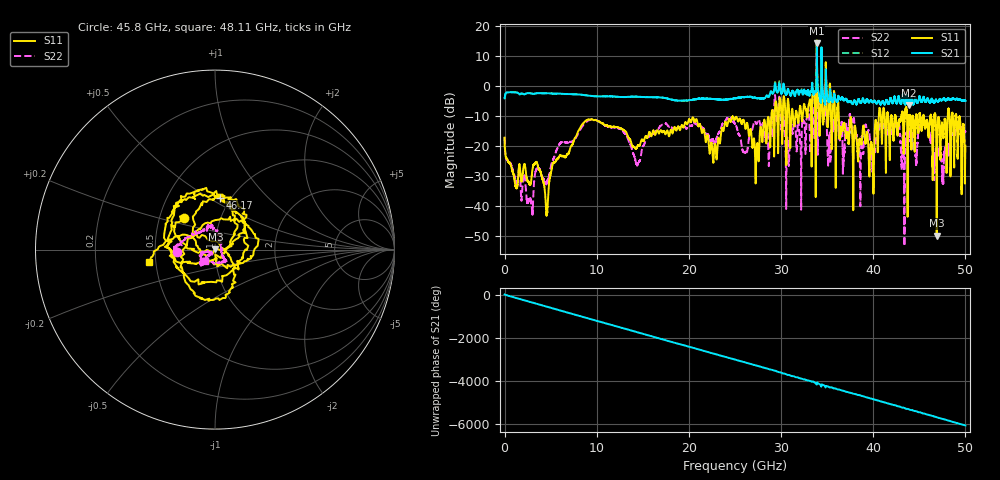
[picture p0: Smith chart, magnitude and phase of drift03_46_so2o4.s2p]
!Created with skrf (http://scikit-rf.org).
# Hz S RI R 50.0
!freq ReS11 ImS11 ReS21 ImS21 ReS12 ImS12 ReS22 ImS22
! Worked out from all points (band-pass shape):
!   10001 points, 300 kHz to 50 GHz, reference 50 ohm
!   highest |S21| = 14.35 dB at 33.88 GHz (marker M1); lowest = -6.2 dB at 43.9 GHz (marker M2)
!   |S21| within 3 dB of the highest: 33.86932 GHz to 33.88868 GHz (19.36 MHz wide, 0.0571 % of centre); 34.37711 GHz to 34.38933 GHz (12.22 MHz wide, 0.0355 % of centre)
!   lowest |S11| = -49.9 dB at 46.89 GHz (marker M3), VSWR 1.01, Z = 50.2 + j0.24 ohm
!   |S11| at or under -10 dB: start of sweep to 28.94 GHz; 36.26 GHz to 40.6 GHz (4.34 GHz wide, 11.3 % of centre); 46.74 GHz to 48.08 GHz (1.338 GHz wide, 2.82 % of centre) (the widest 3 of 62)
!   |S22| runs from -53.4 to 11.1 dB; largest |S21 - S12| = 0.82
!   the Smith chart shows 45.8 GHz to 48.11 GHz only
!   S11 on the Smith chart (normalised r, x): 45.8 GHz: 0.66, +0.25; 46.17 GHz: 0.89, +0.56; 48.11 GHz: 0.46, -0.07
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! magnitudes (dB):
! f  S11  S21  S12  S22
! 300 kHz  -17.2  -4.0  -4.0  -17.0
! 2.825 GHz  -32.6  -2.4  -2.4  -38.3
! 4.555 GHz  -43.3  -2.3  -2.3  -32.2
! 8.335 GHz  -13.1  -2.8  -2.8  -13.9
! 14.44 GHz  -19.9  -3.5  -3.5  -26.2
! 16.67 GHz  -15.4  -3.7  -3.7  -14.3
! 22.82 GHz  -19.3  -4.3  -4.3  -19.2
! 25 GHz  -10.9  -4.0  -4.0  -12.5
! 26.09 GHz  -13.6  -3.6  -3.6  -22.0
! 27.39 GHz  -19.4  -4.1  -4.1  -12.3
! 29.6 GHz  -10.8  -2.0  -2.1  -11.6
! 30.7 GHz  -5.7  -1.4  -1.5  -17.2
! 33.34 GHz  -14.1  -0.5  -0.6  -7.2
! 33.88 GHz  15.3  14.4  14.0  10.9
! 39.81 GHz  -19.0  -4.9  -4.9  -23.2
! 41.67 GHz  -12.2  -5.9  -5.9  -15.2
! 43.9 GHz  -9.6  -6.2  -6.2  -16.6
! 45.8 GHz  -12.0  -4.7  -4.8  -13.5
! 46.17 GHz  -10.7  -5.5  -5.4  -17.1
! 46.89 GHz  -49.9  -4.9  -4.9  -22.3
! 48.11 GHz  -8.6  -4.1  -4.1  -21.3
! 50 GHz  -19.8  -4.9  -4.9  -15.1
